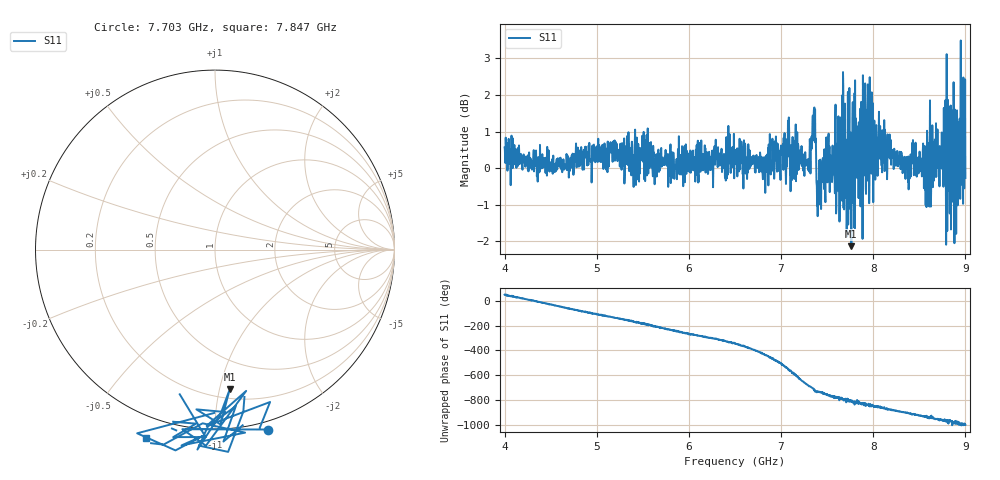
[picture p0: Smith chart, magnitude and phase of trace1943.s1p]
! Created with skrf 1.8.0 (http://scikit-rf.org).
# Hz S RI R 50.0
!freq ReS11 ImS11
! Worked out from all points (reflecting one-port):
!   1601 points, 4 GHz to 9 GHz, reference 50 ohm
!   lowest |S11| = -2.1 dB at 7.762 GHz (marker M1), VSWR 8.19, Z = 13.4 - j53.7 ohm
!   phase of S11 starts at 51 deg and turns -1053 deg over the sweep
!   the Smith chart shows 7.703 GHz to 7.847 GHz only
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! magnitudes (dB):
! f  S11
! 4 GHz  0.6
! 4.625 GHz  -0.1
! 5.25 GHz  0.0
! 5.875 GHz  0.2
! 6.5 GHz  0.4
! 6.806 GHz  0.1
! 7.062 GHz  0.0
! 7.125 GHz  0.9
! 7.294 GHz  -0.1
! 7.353 GHz  1.4
! 7.409 GHz  -1.0
! 7.669 GHz  -0.1
! 7.703 GHz  0.4
! 7.75 GHz  -1.1
! 7.762 GHz  -2.1
! 7.775 GHz  1.3
! 7.822 GHz  -0.3
! 7.962 GHz  2.5
! 7.997 GHz  0.4
! 8.097 GHz  -0.1
! 8.375 GHz  0.1
! 8.441 GHz  -0.2
! 8.588 GHz  0.5
! 8.834 GHz  1.7
! 8.906 GHz  0.4
! 8.953 GHz  -0.5
! 8.972 GHz  0.7
! 9 GHz  -0.3
